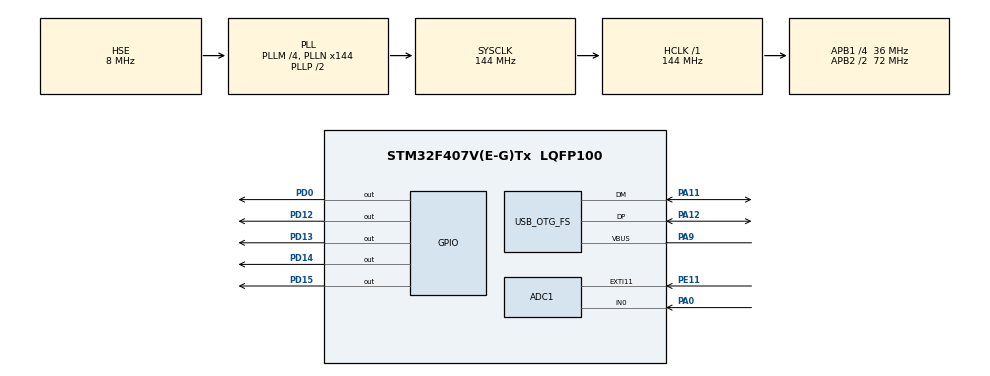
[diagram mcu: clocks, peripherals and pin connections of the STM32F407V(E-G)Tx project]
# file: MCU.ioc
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ADC1.Channel-0\#ChannelRegularConversion=ADC_CHANNEL_0
ADC1.ClockPrescaler=ADC_CLOCK_SYNC_PCLK_DIV2
ADC1.ContinuousConvMode=ENABLE
ADC1.DMAAccessMode=ADC_DMAACCESSMODE_2
ADC1.DMAContinuousRequests=DISABLE
ADC1.Mode=ADC_TRIPLEMODE_INTERL
ADC1.NbrOfConversion=1
ADC1.NbrOfConversionFlag=1
ADC1.Rank-0\#ChannelRegularConversion=1
ADC1.SamplingTime-0\#ChannelRegularConversion=ADC_SAMPLETIME_3CYCLES
ADC1.ScanConvMode=DISABLE
ADC1.master=1
ADC2.Channel-1\#ChannelRegularConversion=ADC_CHANNEL_0
ADC2.ContinuousConvMode=ENABLE
ADC2.DMAAccessMode=ADC_DMAACCESSMODE_2
ADC2.DMAContinuousRequests=DISABLE
ADC2.Mode=ADC_TRIPLEMODE_INTERL
ADC2.NbrOfConversion=1
ADC2.NbrOfConversionFlag=1
ADC2.Rank-1\#ChannelRegularConversion=1
ADC2.SamplingTime-1\#ChannelRegularConversion=ADC_SAMPLETIME_3CYCLES
ADC3.Channel-1\#ChannelRegularConversion=ADC_CHANNEL_0
ADC3.ContinuousConvMode=ENABLE
ADC3.DMAAccessMode=ADC_DMAACCESSMODE_2
ADC3.DMAContinuousRequests=DISABLE
ADC3.Mode=ADC_TRIPLEMODE_INTERL
ADC3.NbrOfConversion=1
ADC3.NbrOfConversionFlag=1
ADC3.Rank-1\#ChannelRegularConversion=1
ADC3.SamplingTime-1\#ChannelRegularConversion=ADC_SAMPLETIME_3CYCLES
Dma.ADC1.0.Direction=DMA_PERIPH_TO_MEMORY
Dma.ADC1.0.FIFOMode=DMA_FIFOMODE_DISABLE
Dma.ADC1.0.Instance=DMA2_Stream0
Dma.ADC1.0.MemDataAlignment=DMA_MDATAALIGN_WORD
Dma.ADC1.0.MemInc=DMA_MINC_ENABLE
Dma.ADC1.0.Mode=DMA_CIRCULAR
Dma.ADC1.0.PeriphDataAlignment=DMA_PDATAALIGN_WORD
Dma.ADC1.0.PeriphInc=DMA_PINC_DISABLE
Dma.ADC1.0.Priority=DMA_PRIORITY_LOW
Dma.Request0=ADC1
Mcu.Family=STM32F4
Mcu.Name=STM32F407V(E-G)Tx
Mcu.Package=LQFP100
NVIC.ADC_IRQn=true\:0\:0\:false\:false\:true\:true\:true
NVIC.DMA2_Stream0_IRQn=true\:0\:0\:false\:false\:true\:false\:true
NVIC.EXTI15_10_IRQn=true\:0\:0\:false\:false\:true\:true\:true
NVIC.OTG_FS_IRQn=true\:0\:0\:false\:false\:true\:false\:true
NVIC.PriorityGroup=NVIC_PRIORITYGROUP_4
PA0-WKUP.Signal=ADCx_IN0
PA11.Mode=Device_Only
PA11.Signal=USB_OTG_FS_DM
PA12.Mode=Device_Only
PA12.Signal=USB_OTG_FS_DP
PA13.Mode=Serial_Wire
PA13.Signal=SYS_JTMS-SWDIO
PA14.Mode=Serial_Wire
PA14.Signal=SYS_JTCK-SWCLK
PA9.Mode=Activate_VBUS
PA9.Signal=USB_OTG_FS_VBUS
PD0.GPIO_Speed=GPIO_SPEED_FREQ_VERY_HIGH
PD0.Signal=GPIO_Output
PD12.Signal=GPIO_Output
PD13.Signal=GPIO_Output
PD14.Signal=GPIO_Output
PD15.Signal=GPIO_Output
PE11.Signal=GPXTI11
PH0-OSC_IN.Mode=HSE-External-Oscillator
PH0-OSC_IN.Signal=RCC_OSC_IN
PH1-OSC_OUT.Mode=HSE-External-Oscillator
PH1-OSC_OUT.Signal=RCC_OSC_OUT
ProjectManager.HeapSize=0x1000
ProjectManager.StackSize=0x1000
ProjectManager.TargetToolchain=MDK-ARM V5
RCC.48MHZClocksFreq_Value=48000000
RCC.AHBFreq_Value=144000000
RCC.APB1CLKDivider=RCC_HCLK_DIV4
RCC.APB1Freq_Value=36000000
RCC.APB1TimFreq_Value=72000000
RCC.APB2CLKDivider=RCC_HCLK_DIV2
RCC.APB2Freq_Value=72000000
RCC.APB2TimFreq_Value=144000000
RCC.CortexFreq_Value=144000000
RCC.HCLKFreq_Value=144000000
RCC.HSE_VALUE=8000000
RCC.HSI_VALUE=16000000
RCC.LSE_VALUE=32768
RCC.PLLM=4
RCC.PLLN=144
RCC.PLLQ=6
RCC.SYSCLKFreq_VALUE=144000000
RCC.SYSCLKSource=RCC_SYSCLKSOURCE_PLLCLK
RCC.VCOOutputFreq_Value=288000000
SH.ADCx_IN0.0=ADC1_IN0,IN0
SH.ADCx_IN0.1=ADC2_IN0,IN0
SH.ADCx_IN0.2=ADC3_IN0,IN0
USB_DEVICE.CLASS_NAME_FS=CDC
USB_DEVICE.VirtualMode-CDC_FS=Cdc
USB_DEVICE.VirtualModeFS=Cdc_FS
USB_OTG_FS.VirtualMode=Device_Only
VP_USB_DEVICE_VS_USB_DEVICE_CDC_FS.Mode=CDC_FS
board=custom

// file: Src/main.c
/* USER CODE BEGIN Header */
/**
  ******************************************************************************
  * @file           : main.c
  * @brief          : Main program body
  ******************************************************************************
  * @attention
  *
  * <h2><center>&copy; Copyright (c) 2019 STMicroelectronics.
  * All rights reserved.</center></h2>
  *
  * This software component is licensed by ST under BSD 3-Clause license,
  * the "License"; You may not use this file except in compliance with the
  * License. You may obtain a copy of the License at:
  *                        opensource.org/licenses/BSD-3-Clause
  *
  ******************************************************************************
  */
/* USER CODE END Header */

#include "main.h"
#include "usb_device.h"

/* USER CODE BEGIN Includes */
#include "usbd_cdc_if.h"
#include "CUSB.h"
#include "CADC.h"
#include "tools.h"
#include "math.h"

/* USER CODE END Includes */

ADC_HandleTypeDef hadc1;
ADC_HandleTypeDef hadc2;
ADC_HandleTypeDef hadc3;
DMA_HandleTypeDef hdma_adc1;

/* USER CODE BEGIN PV */
struct CustomADCStruct CADC;

uint8_t USBBufTx[USBBufTxSize];
struct CQueue	USBBufRxQ;
//struct CQueue	USBBufTxQ;
int USBBufRxQOverload = 0;
uint16_t USBTxTimeout = 0;
uint8_t USBTxTimeoutFlag = 0;
uint8_t		triggerEvent;
uint16_t 	ADCBufSize = ADC_BUF_SIZE_DEFAULT;

/* USER CODE END PV */

void SystemClock_Config(void);
static void MX_GPIO_Init(void);
static void MX_DMA_Init(void);
static void MX_ADC1_Init(void);
static void MX_ADC2_Init(void);
static void MX_ADC3_Init(void);
/* USER CODE BEGIN PFP */
void USB_RX_handler(void);
void ADC_ContConv_handler(void);
uint8_t USB_TX(uint8_t* data, uint16_t data_length);
uint8_t USB_TX_Part(uint8_t* data, uint16_t data_length, uint16_t part_length);
/* USER CODE END PFP */

int main(void)
{
  /* USER CODE BEGIN 1 */
	CQueueInit(&USBBufRxQ, USBBufRxQSize);
	//CQueueInit(&USBBufTxQ, USBBufTxQSize);

	// ADC custom struct init
	CADC.data = (uint16_t *)malloc(sizeof(uint16_t) * ADC_BUF_SIZE_DEFAULT);
	CADC.convCompltFlag = 0;
	CADC.state = STATE_OFF;
	//CADC.triggerEvent = 0;
	triggerEvent = 0;

  /* USER CODE END 1 */

  /* MCU Configuration--------------------------------------------------------*/

  /* Reset of all peripherals, Initializes the Flash interface and the Systick. */
  HAL_Init();

  /* Configure the system clock */
  SystemClock_Config();

  /* Initialize all configured peripherals */
  MX_GPIO_Init();
  MX_DMA_Init();
  MX_ADC1_Init();
  MX_ADC2_Init();
  MX_ADC3_Init();
  MX_USB_DEVICE_Init();

  /* Infinite loop */
  while (1)
  {

    /* USER CODE BEGIN 3 */

		ADC_ContConv_handler();

		USB_RX_handler();

		//HAL_Delay(5000);

  }
  /* USER CODE END 3 */
}

void SystemClock_Config(void)
{
  RCC_OscInitTypeDef RCC_OscInitStruct = {0};
  RCC_ClkInitTypeDef RCC_ClkInitStruct = {0};

  /** Configure the main internal regulator output voltage
  */
  __HAL_RCC_PWR_CLK_ENABLE();
  __HAL_PWR_VOLTAGESCALING_CONFIG(PWR_REGULATOR_VOLTAGE_SCALE1);
  /** Initializes the CPU, AHB and APB busses clocks
  */
  RCC_OscInitStruct.OscillatorType = RCC_OSCILLATORTYPE_HSE;
  RCC_OscInitStruct.HSEState = RCC_HSE_ON;
  RCC_OscInitStruct.PLL.PLLState = RCC_PLL_ON;
  RCC_OscInitStruct.PLL.PLLSource = RCC_PLLSOURCE_HSE;
  RCC_OscInitStruct.PLL.PLLM = 4;
  RCC_OscInitStruct.PLL.PLLN = 144;
  RCC_OscInitStruct.PLL.PLLP = RCC_PLLP_DIV2;
  RCC_OscInitStruct.PLL.PLLQ = 6;
  if (HAL_RCC_OscConfig(&RCC_OscInitStruct) != HAL_OK)
  {
    Error_Handler();
  }
  /** Initializes the CPU, AHB and APB busses clocks
  */
  RCC_ClkInitStruct.ClockType = RCC_CLOCKTYPE_HCLK|RCC_CLOCKTYPE_SYSCLK
                              |RCC_CLOCKTYPE_PCLK1|RCC_CLOCKTYPE_PCLK2;
  RCC_ClkInitStruct.SYSCLKSource = RCC_SYSCLKSOURCE_PLLCLK;
  RCC_ClkInitStruct.AHBCLKDivider = RCC_SYSCLK_DIV1;
  RCC_ClkInitStruct.APB1CLKDivider = RCC_HCLK_DIV4;
  RCC_ClkInitStruct.APB2CLKDivider = RCC_HCLK_DIV2;

  if (HAL_RCC_ClockConfig(&RCC_ClkInitStruct, FLASH_LATENCY_4) != HAL_OK)
  {
    Error_Handler();
  }
}

static void MX_ADC1_Init(void)
{

  ADC_MultiModeTypeDef multimode = {0};
  ADC_ChannelConfTypeDef sConfig = {0};

  /** Configure the global features of the ADC (Clock, Resolution, Data Alignment and number of conversion)
  */
  hadc1.Instance = ADC1;
  hadc1.Init.ClockPrescaler = ADC_CLOCK_SYNC_PCLK_DIV2;
  hadc1.Init.Resolution = ADC_RESOLUTION_12B;
  hadc1.Init.ScanConvMode = DISABLE;
  hadc1.Init.ContinuousConvMode = ENABLE;
  hadc1.Init.DiscontinuousConvMode = DISABLE;
  hadc1.Init.ExternalTrigConvEdge = ADC_EXTERNALTRIGCONVEDGE_RISING;
  hadc1.Init.ExternalTrigConv = ADC_EXTERNALTRIGCONV_Ext_IT11;
  hadc1.Init.DataAlign = ADC_DATAALIGN_RIGHT;
  hadc1.Init.NbrOfConversion = 1;
  hadc1.Init.DMAContinuousRequests = DISABLE;
  hadc1.Init.EOCSelection = ADC_EOC_SINGLE_CONV;
  if (HAL_ADC_Init(&hadc1) != HAL_OK)
  {
    Error_Handler();
  }
  /** Configure the ADC multi-mode
  */
  multimode.Mode = ADC_TRIPLEMODE_INTERL;
  multimode.DMAAccessMode = ADC_DMAACCESSMODE_2;
  multimode.TwoSamplingDelay = ADC_TWOSAMPLINGDELAY_5CYCLES;
  if (HAL_ADCEx_MultiModeConfigChannel(&hadc1, &multimode) != HAL_OK)
  {
    Error_Handler();
  }
  /** Configure for the selected ADC regular channel its corresponding rank in the sequencer and its sample time.
  */
  sConfig.Channel = ADC_CHANNEL_0;
  sConfig.Rank = 1;
  sConfig.SamplingTime = ADC_SAMPLETIME_3CYCLES;
  if (HAL_ADC_ConfigChannel(&hadc1, &sConfig) != HAL_OK)
  {
    Error_Handler();
  }

}

static void MX_ADC2_Init(void)
{

  ADC_ChannelConfTypeDef sConfig = {0};

  /** Configure the global features of the ADC (Clock, Resolution, Data Alignment and number of conversion)
  */
  hadc2.Instance = ADC2;
  hadc2.Init.ClockPrescaler = ADC_CLOCK_SYNC_PCLK_DIV2;
  hadc2.Init.Resolution = ADC_RESOLUTION_12B;
  hadc2.Init.ScanConvMode = DISABLE;
  hadc2.Init.ContinuousConvMode = ENABLE;
  hadc2.Init.DiscontinuousConvMode = DISABLE;
  hadc2.Init.DataAlign = ADC_DATAALIGN_RIGHT;
  hadc2.Init.NbrOfConversion = 1;
  hadc2.Init.DMAContinuousRequests = DISABLE;
  hadc2.Init.EOCSelection = ADC_EOC_SINGLE_CONV;
  if (HAL_ADC_Init(&hadc2) != HAL_OK)
  {
    Error_Handler();
  }
  /** Configure for the selected ADC regular channel its corresponding rank in the sequencer and its sample time.
  */
  sConfig.Channel = ADC_CHANNEL_0;
  sConfig.Rank = 1;
  sConfig.SamplingTime = ADC_SAMPLETIME_3CYCLES;
  if (HAL_ADC_ConfigChannel(&hadc2, &sConfig) != HAL_OK)
  {
    Error_Handler();
  }

}

static void MX_ADC3_Init(void)
{

  ADC_ChannelConfTypeDef sConfig = {0};

  /** Configure the global features of the ADC (Clock, Resolution, Data Alignment and number of conversion)
  */
  hadc3.Instance = ADC3;
  hadc3.Init.ClockPrescaler = ADC_CLOCK_SYNC_PCLK_DIV2;
  hadc3.Init.Resolution = ADC_RESOLUTION_12B;
  hadc3.Init.ScanConvMode = DISABLE;
  hadc3.Init.ContinuousConvMode = ENABLE;
  hadc3.Init.DiscontinuousConvMode = DISABLE;
  hadc3.Init.DataAlign = ADC_DATAALIGN_RIGHT;
  hadc3.Init.NbrOfConversion = 1;
  hadc3.Init.DMAContinuousRequests = DISABLE;
  hadc3.Init.EOCSelection = ADC_EOC_SINGLE_CONV;
  if (HAL_ADC_Init(&hadc3) != HAL_OK)
  {
    Error_Handler();
  }
  /** Configure for the selected ADC regular channel its corresponding rank in the sequencer and its sample time.
  */
  sConfig.Channel = ADC_CHANNEL_0;
  sConfig.Rank = 1;
  sConfig.SamplingTime = ADC_SAMPLETIME_3CYCLES;
  if (HAL_ADC_ConfigChannel(&hadc3, &sConfig) != HAL_OK)
  {
    Error_Handler();
  }

}

static void MX_DMA_Init(void)
{

  /* DMA controller clock enable */
  __HAL_RCC_DMA2_CLK_ENABLE();

  /* DMA interrupt init */
  /* DMA2_Stream0_IRQn interrupt configuration */
  HAL_NVIC_SetPriority(DMA2_Stream0_IRQn, 0, 0);
  HAL_NVIC_EnableIRQ(DMA2_Stream0_IRQn);

}

static void MX_GPIO_Init(void)
{
  GPIO_InitTypeDef GPIO_InitStruct = {0};

  /* GPIO Ports Clock Enable */
  __HAL_RCC_GPIOH_CLK_ENABLE();
  __HAL_RCC_GPIOA_CLK_ENABLE();
  __HAL_RCC_GPIOE_CLK_ENABLE();
  __HAL_RCC_GPIOD_CLK_ENABLE();

  /*Configure GPIO pin Output Level */
  HAL_GPIO_WritePin(GPIOD, GPIO_PIN_12|GPIO_PIN_13|GPIO_PIN_14|GPIO_PIN_15
                          |GPIO_PIN_0, GPIO_PIN_RESET);

  /*Configure GPIO pin : PE11 */
  GPIO_InitStruct.Pin = GPIO_PIN_11;
  GPIO_InitStruct.Mode = GPIO_MODE_IT_RISING;
  GPIO_InitStruct.Pull = GPIO_NOPULL;
  HAL_GPIO_Init(GPIOE, &GPIO_InitStruct);

  /*Configure GPIO pins : PD12 PD13 PD14 PD15 */
  GPIO_InitStruct.Pin = GPIO_PIN_12|GPIO_PIN_13|GPIO_PIN_14|GPIO_PIN_15;
  GPIO_InitStruct.Mode = GPIO_MODE_OUTPUT_PP;
  GPIO_InitStruct.Pull = GPIO_NOPULL;
  GPIO_InitStruct.Speed = GPIO_SPEED_FREQ_LOW;
  HAL_GPIO_Init(GPIOD, &GPIO_InitStruct);

  /*Configure GPIO pin : PD0 */
  GPIO_InitStruct.Pin = GPIO_PIN_0;
  GPIO_InitStruct.Mode = GPIO_MODE_OUTPUT_PP;
  GPIO_InitStruct.Pull = GPIO_NOPULL;
  GPIO_InitStruct.Speed = GPIO_SPEED_FREQ_VERY_HIGH;
  HAL_GPIO_Init(GPIOD, &GPIO_InitStruct);

  /* EXTI interrupt init*/
  HAL_NVIC_SetPriority(EXTI15_10_IRQn, 0, 0);
  HAL_NVIC_EnableIRQ(EXTI15_10_IRQn);

}

/* USER CODE BEGIN 4 */

void HAL_ADC_ConvCpltCallback(ADC_HandleTypeDef *hadc){
	CADC.convCompltFlag =	1;
}

void ADC_ContConv_handler(){
	if ((CADC.convCompltFlag == 1) || ((CADC.state == STATE_ON) && (CADC.startTime > ADC_WHATCHDOG_TIMEOUT))){
	//if ((CADC.convCompltFlag == 1) || ((CADC.state == STATE_ON) && (CADC.startTime > ADC_WHATCHDOG_TIMEOUT) && (triggerEvent > 0))){
		CADC.convCompltFlag = 0;
		//CADC.triggerEvent = 0;
		triggerEvent = 0;
		if(HAL_ADCEx_MultiModeStop_DMA(&hadc1) != HAL_OK)
			Error_Handler();
		//if(HAL_ADC_Stop(&hadc1) != HAL_OK)
		//	Error_Handler();
		if(HAL_ADC_Stop(&hadc2) != HAL_OK)
			Error_Handler();
		if(HAL_ADC_Stop(&hadc3) != HAL_OK)
			Error_Handler();
		CADC.state = STATE_OFF;

		/*
		USBBufTx[0]= USB_0_DATA;
		USBBufTx[1] = USB_1_DATA_ADC_CONTCONV;
		memcpy(&USBBufTx[2], CADC.data, ADCBufSize * 2);
		volatile uint8_t result = USB_TX(USBBufTx, ADCBufSize * 2 + 2);*/

		USB_TX_Part((uint8_t *)&CADC.data, ADCBufSize * 2, USBBufTxSize);

		/*
		volatile uint8_t result;
		for (int i = 0; i < (ADCBufSize / 62 + 1); i++){
			USBBufTx[0]= USB_0_DATA;
			USBBufTx[1] = USB_1_DATA_ADC_CONTCONV;
			memcpy(&USBBufTx[2], &CADC.data[i * 62], 62);
			result = USB_TX(USBBufTx, 62 + 2);
			HAL_Delay(100);
		}*/

		//MX_DMA_Init();
		MX_ADC1_Init();
		MX_ADC2_Init();
		MX_ADC3_Init();
		if(HAL_ADC_Start(&hadc3) != HAL_OK)
			Error_Handler();
		if(HAL_ADC_Start(&hadc2) != HAL_OK)
			Error_Handler();
		//if(HAL_ADC_Start(&hadc1) != HAL_OK)
		//	Error_Handler();
		if(HAL_ADCEx_MultiModeStart_DMA(&hadc1, (uint32_t*)CADC.data, ADCBufSize) != HAL_OK)
			Error_Handler();
		CADC.state = STATE_ON;
		CADC.startTime = 0;

		//HAL_GPIO_TogglePin(GPIOD, GPIO_PIN_14);
	}
}

uint8_t ADC_dataBuf_resize(uint16_t size, uint8_t *state_extended){
	if (CADC.state == STATE_ON){
		*state_extended = USB_1_ERROR_ADC_SET_BUF_SIZE_ADCRUN;
		return USB_0_ERROR;
	}
	if (size > ADC_MAX_BUF_SIZE){
		*state_extended = USB_1_ERROR_ADC_SET_BUF_SIZE_UPPERLIMIT;
		return USB_0_ERROR;
	}
	if (size < ADC_MIN_BUF_SIZE){
		*state_extended = USB_1_ERROR_ADC_SET_BUF_SIZE_LOWERLIMIT;
		return USB_0_ERROR;
	}
	free(CADC.data);
	CADC.data = (uint16_t *)malloc(sizeof(uint16_t) * size);
	ADCBufSize = size;

	*state_extended = USB_1_INFO_ADC_SET_BUF_SIZE_OK;
	return USB_0_INFO;
}

void ADCContConvStart(){
	if (CADC.state == STATE_ON){
		USBBufTx[0] = USB_0_ERROR;
		USBBufTx[1] = USB_1_ERROR_ADC_CONTCONV_START;
		CDC_Transmit_FS(USBBufTx, 2);
		return;
	}
	MX_ADC1_Init();
	MX_ADC2_Init();
	MX_ADC3_Init();
	if(HAL_ADC_Start(&hadc3) != HAL_OK)
		Error_Handler();
	if(HAL_ADC_Start(&hadc2) != HAL_OK)
		Error_Handler();
	//if(HAL_ADC_Start(&hadc1) != HAL_OK)
	//	Error_Handler();
	if(HAL_ADCEx_MultiModeStart_DMA(&hadc1, (uint32_t*)CADC.data, ADCBufSize) != HAL_OK)
		Error_Handler();
	CADC.state = STATE_ON;
	CADC.startTime = 0;
	triggerEvent = 0;
}

void ADCContConvStop(){
	if (CADC.state == STATE_OFF){
		USBBufTx[0] = USB_0_ERROR;
		USBBufTx[1] = USB_1_ERROR_ADC_CONTCONV_STOP;
		CDC_Transmit_FS(USBBufTx, 2);
		return;
	}
	if(HAL_ADCEx_MultiModeStop_DMA(&hadc1) != HAL_OK)
		Error_Handler();
		//if(HAL_ADC_Stop(&hadc1) != HAL_OK)
		//	Error_Handler();
	if(HAL_ADC_Stop(&hadc2) != HAL_OK)
		Error_Handler();
	if(HAL_ADC_Stop(&hadc3) != HAL_OK)
		Error_Handler();
	CADC.state = STATE_OFF;
}

void ADCRequestBufSize(){
		USBBufTx[0] = USB_0_DATA;
		USBBufTx[1] = USB_1_DATA_ADC_BUF_SIZE;
		int res =	NumberToRAWMSBFirst(USBBufTx, 2, ADCBufSize, 2);
		CDC_Transmit_FS(USBBufTx, 4);
}

void ADCRequestState(){
		USBBufTx[0] = USB_0_INFO;
		if (CADC.state == STATE_ON)
			USBBufTx[1] = USB_1_INFO_ADC_STATE_ON;
		else
			USBBufTx[1] = USB_1_INFO_ADC_STATE_OFF;
		CDC_Transmit_FS(USBBufTx, 2);
}

void Rx_CMD_handler(uint8_t *data){
	switch (data[1]){
		case USB_1_CMD_ADC_CONTCONV_START:
			ADCContConvStart();
		break;
		case USB_1_CMD_ADC_CONTCONV_STOP:
			ADCContConvStop();
		break;
		case USB_1_CMD_ADC_REQUEST_BUF_SIZE:
			ADCRequestBufSize();
		break;
		case USB_1_CMD_ADC_REQUEST_STATE:
			ADCRequestState();
		break;

	}
}
void Rx_DATA_handler(uint8_t *data){
	switch (data[1]){
		case USB_1_DATA_ADC_BUF_SIZE:
			USBBufTx[0] = ADC_dataBuf_resize((uint16_t)RAWToNumberMSBFirst(data, 2, 2), &USBBufTx[1]);
			CDC_Transmit_FS(USBBufTx, 2);
		break;
	}
}

void Rx_ERROR_handler(uint8_t *data){

}

void Rx_INFO_handler(uint8_t *data){

}

void USB_RX_handler(){
	if (USBBufRxQ.current_size != 0){
		uint8_t data[USBBufRxSize];
		int i = 0;
		while (CQueuePop(&USBBufRxQ, data, USBBufRxSize) == 1){
			if (USBBufRxQOverload != 0){
				USBBufTx[0] = USB_0_ERROR;
				USBBufTx[1] = USB_1_ERROR_USB_FIFO_OVERLOAD;
				USBBufTx[2] = USBBufRxQOverload; 	// amount of data FIFO missed
				CDC_Transmit_FS(USBBufTx, 3);
				USBBufRxQOverload = 0;
			} else {
				switch (data[0]){
				case USB_0_CMD:
					Rx_CMD_handler(data);
				break;
				case USB_0_DATA:
					Rx_DATA_handler(data);
				break;
				case USB_0_ERROR:
					Rx_ERROR_handler(data);
				break;
				case USB_0_INFO:
					Rx_INFO_handler(data);
				break;
				}
			}
			i++;
		}
		USBBufTx[0] = USB_0_INFO;
		USBBufTx[1] = USB_1_INFO_RX_FIFO_CLEAR;
		USBBufTx[2] = i;					// amount of data received from FIFO
		CDC_Transmit_FS(USBBufTx, 3);
		//HAL_Delay(5000);				// for FIFO overload test
	}
}

uint8_t USB_TX(uint8_t* data, uint16_t data_length){
	USBTxTimeoutFlag = 1;
	uint8_t result = CDC_Transmit_FS(data, data_length);
	while ((result != USBD_OK)){
		result = CDC_Transmit_FS(data, data_length);
		if (USBTxTimeout > USB_TX_TIMEOUT){
			USBTxTimeoutFlag = 0;
			return result;
		}
	}
	USBTxTimeoutFlag = 0;
	return result;
}

uint8_t USB_TX_Part(uint8_t* data, uint16_t data_length, uint16_t part_length){
	uint8_t result = 0;

	uint16_t payload_length = part_length - 4;
	//uint8_t number_pack = data_length / payload_length + data_length % payload_length;
	uint8_t number_pack = ceil((double)data_length / (double)payload_length);
	uint16_t tail = data_length % payload_length;
	USBBufTx[2] = number_pack;

	for(uint8_t i = 0; i < number_pack; i++){
		USBBufTx[0]= USB_0_DATA;
		USBBufTx[1] = USB_1_DATA_ADC_CONTCONV;
		USBBufTx[2] = number_pack;
		USBBufTx[3] = i;
		if ((i == (number_pack - 1)) && (tail != 0)){
			memcpy(&USBBufTx[4], (uint8_t *)&CADC.data[i * payload_length], tail);
			result = USB_TX(USBBufTx, tail + 4);
		} else {
			memcpy(&USBBufTx[4], (uint8_t *)&CADC.data[i * payload_length], payload_length);
			result = USB_TX(USBBufTx, part_length);
		}
		HAL_Delay(10);
	}
	return result;
}

/* USER CODE END 4 */

void Error_Handler(void)
{
  /* USER CODE BEGIN Error_Handler_Debug */
  /* User can add his own implementation to report the HAL error return state */
	HAL_GPIO_TogglePin(GPIOD, GPIO_PIN_15);
	USBBufTx[0] = USB_0_ERROR;
	USBBufTx[1] = USB_1_ERROR_COMMON;
	CDC_Transmit_FS(USBBufTx, 2);
  /* USER CODE END Error_Handler_Debug */
}

/************************ (C) COPYRIGHT STMicroelectronics *****END OF FILE****/
